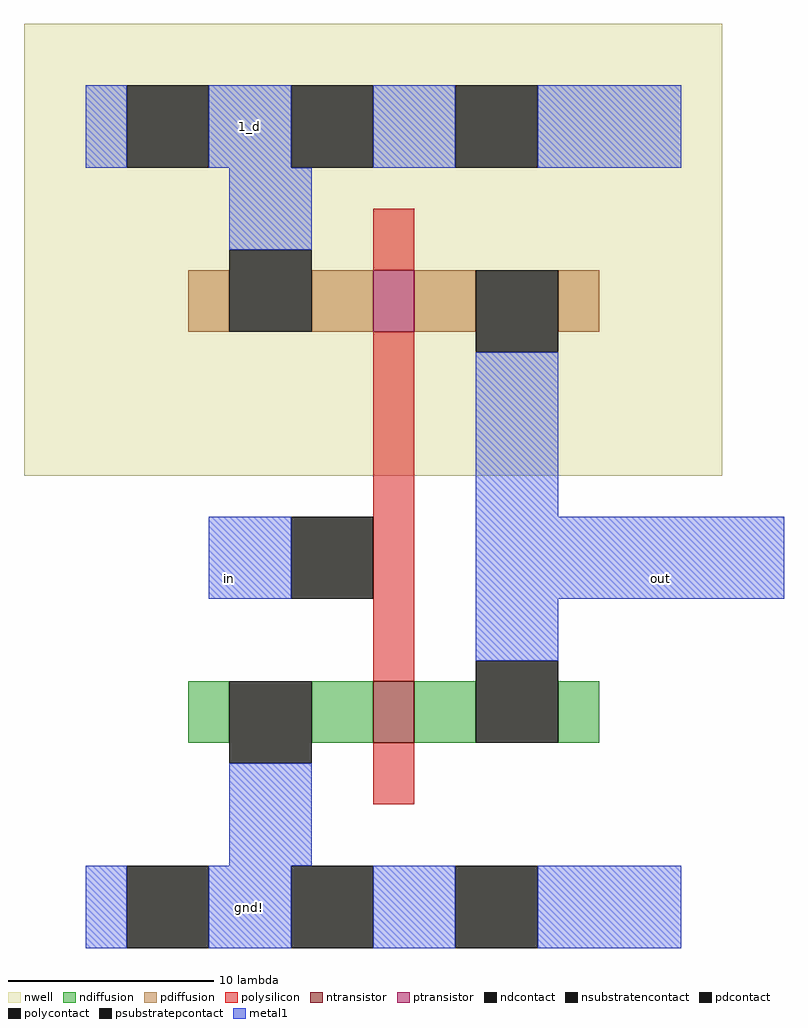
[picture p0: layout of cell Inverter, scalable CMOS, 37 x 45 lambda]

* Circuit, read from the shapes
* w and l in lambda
.subckt Inverter 1_d gnd! in out
M1 out in gnd! gnd! nfet w=3 l=2
M2 out in 1_d 1_d pfet w=3 l=2
.ends

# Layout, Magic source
magic
tech scmos
<< nwell >>
rect -26 3 8 25
<< ntransistor >>
rect -9 -10 -7 -7
<< ptransistor >>
rect -9 10 -7 13
<< ndiffusion >>
rect -18 -10 -16 -7
rect -12 -10 -9 -7
rect -7 -10 -4 -7
rect 0 -10 2 -7
<< pdiffusion >>
rect -18 10 -16 13
rect -12 10 -9 13
rect -7 10 -4 13
rect 0 10 2 13
<< ndcontact >>
rect -16 -11 -12 -7
rect -4 -10 0 -6
<< pdcontact >>
rect -16 10 -12 14
rect -4 9 0 13
<< psubstratepcontact >>
rect -21 -20 -17 -16
rect -13 -20 -9 -16
rect -5 -20 -1 -16
<< nsubstratencontact >>
rect -21 18 -17 22
rect -13 18 -9 22
rect -5 18 -1 22
<< polysilicon >>
rect -9 13 -7 16
rect -9 -7 -7 10
rect -9 -13 -7 -10
<< polycontact >>
rect -13 -3 -9 1
<< metal1 >>
rect -23 18 -21 22
rect -17 18 -13 22
rect -9 18 -5 22
rect -1 18 6 22
rect -16 14 -12 18
rect -4 1 0 9
rect -17 -3 -13 1
rect -4 -3 11 1
rect -4 -6 0 -3
rect -16 -16 -12 -11
rect -23 -20 -21 -16
rect -17 -20 -13 -16
rect -9 -20 -5 -16
rect -1 -20 6 -16
<< labels >>
rlabel metal1 5 -2 5 -2 1 out
rlabel metal1 -16 -2 -16 -2 1 in
rlabel metal1 -15 -18 -15 -18 1 gnd!
rlabel metal1 -15 20 -15 20 5 1_d
<< end >>
